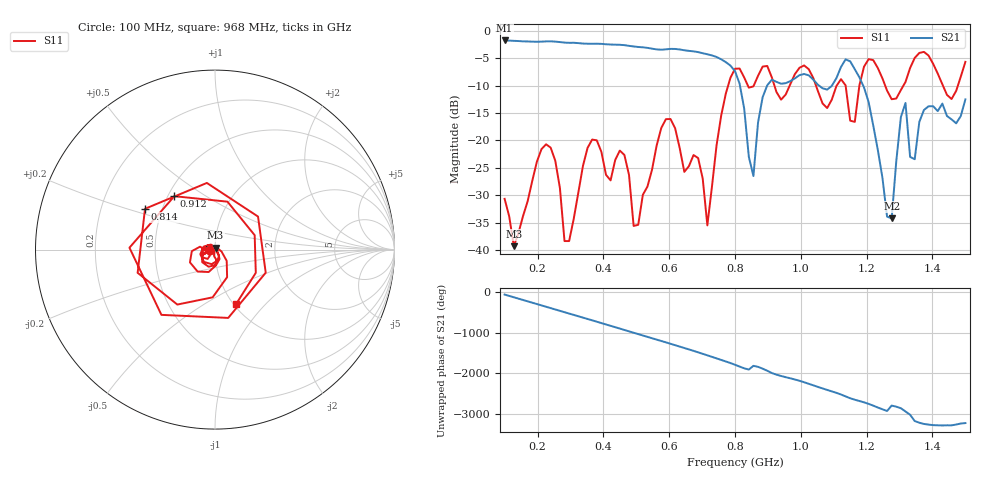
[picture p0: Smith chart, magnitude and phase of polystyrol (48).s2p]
! NanoVNA-App
! Date: 2025-09-26 09:42:15
! Start: 100MHz Stop: 1,5GHz Points: 101
! S-Parameter data: F S11 S21 S12 S22
# Hz S RI R 50
!  Frequency  S11_Real  S11_Imag  S21_Real  S21_Imag  S12_Real  S12_Imag  S22_Real  S22_Imag
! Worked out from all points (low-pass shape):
!   101 points, 100 MHz to 1.5 GHz, reference 50 ohm
!   highest |S21| = -1.79 dB at 100 MHz (marker M1); lowest = -34.2 dB at 1.276 GHz (marker M2)
!   |S21| within 3 dB of the highest: start of sweep to 743.4 MHz
!   lowest |S11| = -39.3 dB at 128 MHz (marker M3), VSWR 1.02, Z = 50.3 + j1.05 ohm
!   |S11| at or under -10 dB: start of sweep to 779.2 MHz; 1.046 GHz to 1.109 GHz (63.23 MHz wide, 5.87 % of centre); 1.256 GHz to 1.312 GHz (55.64 MHz wide, 4.33 % of centre) (the widest 3 of 7)
!   S12 and S22 are empty: the file has one direction only
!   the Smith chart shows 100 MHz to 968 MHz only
!   S11 on the Smith chart (normalised r, x): 100 MHz: 0.94, -0.01; 814 MHz: 0.40, +0.23; 912 MHz: 0.54, +0.37; 968 MHz: 1.03, -0.70
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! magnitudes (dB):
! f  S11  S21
! 100 MHz  -30.7  -1.8
! 128 MHz  -39.3  -1.9
! 212 MHz  -21.6  -2.0
! 254 MHz  -23.7  -2.0
! 282 MHz  -38.3  -2.2
! 338 MHz  -24.7  -2.4
! 464 MHz  -22.7  -2.6
! 506 MHz  -35.4  -3.0
! 576 MHz  -17.7  -3.5
! 688 MHz  -23.2  -3.9
! 716 MHz  -35.5  -4.3
! 800 MHz  -6.9  -7.4
! 814 MHz  -6.9  -9.7
! 856 MHz  -10.2  -26.5
! 912 MHz  -8.5  -8.9
! 968 MHz  -9.8  -9.2
! 1.038 GHz  -8.6  -8.9
! 1.178 GHz  -10.0  -8.5
! 1.276 GHz  -12.5  -34.2
! 1.318 GHz  -9.4  -13.2
! 1.346 GHz  -5.0  -23.4
! 1.5 GHz  -5.7  -12.5
